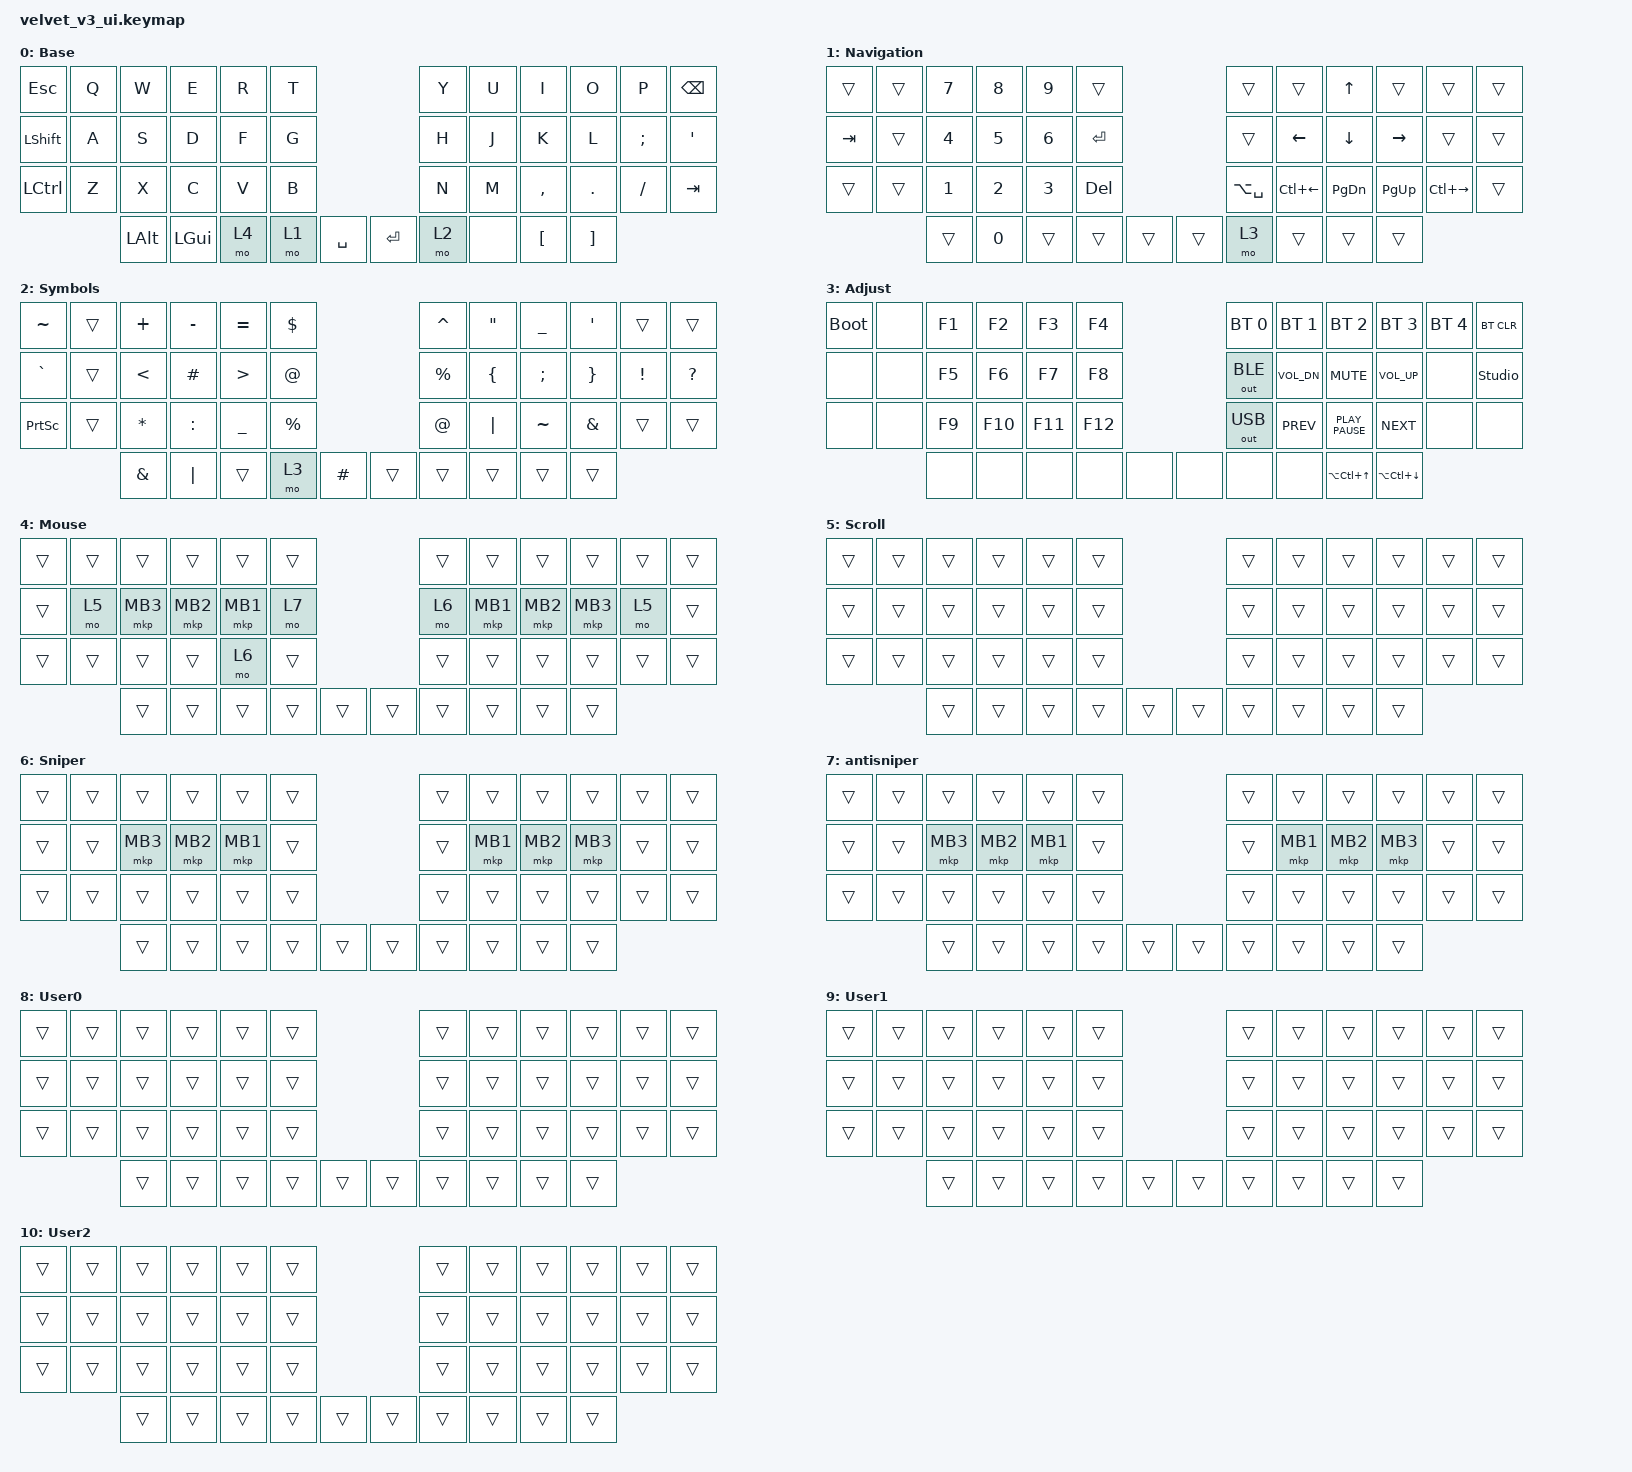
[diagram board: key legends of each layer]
#include "keys_ru.h"
#include <dt-bindings/zmk/input_transform.h>
#include <input/processors.dtsi>
#include <zephyr/dt-bindings/input/input-event-codes.h>
#include <behaviors.dtsi>
#include <dt-bindings/zmk/bt.h>
#include <dt-bindings/zmk/keys.h>
#include <dt-bindings/zmk/outputs.h>
#include <dt-bindings/zmk/pointing.h>

/ {
    behaviors {
        cap_sen: cap_sen {
            compatible = "zmk,behavior-hold-tap";
            label = "CAP_SEN";
            bindings = <&mo>, <&mkp>;

            #binding-cells = <2>;
            tapping-term-ms = <150>;
            hold-while-undecided;
        };
    };

    combos {
        compatible = "zmk,combos";

        cLPAR {
            bindings = <&kp LPAR>;
            key-positions = <4 5>;
        };

        cRPAR {
            bindings = <&kp RPAR>;
            key-positions = <6 7>;
        };

        cLBRCT {
            bindings = <&kp LEFT_BRACKET>;
            key-positions = <16 17>;
        };

        cRTBRCT {
            bindings = <&kp RIGHT_BRACKET>;
            key-positions = <18 19>;
        };

        cLBRC {
            bindings = <&kp LEFT_BRACE>;
            key-positions = <28 29>;
        };

        cRBRC {
            bindings = <&kp RIGHT_BRACE>;
            key-positions = <30 31>;
        };
    };

    keymap {
        compatible = "zmk,keymap";

        Base {
            bindings = <
&kp ESC         &kp Q  &kp W     &kp E     &kp R  &kp T                        &kp Y  &kp U  &kp I      &kp O     &kp P     &kp BSPC
&kp LEFT_SHIFT  &kp A  &kp S     &kp D     &kp F  &kp G                        &kp H  &kp J  &kp K      &kp L     &kp SEMI  &kp SQT
&kp LCTRL       &kp Z  &kp X     &kp C     &kp V  &kp B                        &kp N  &kp M  &kp COMMA  &kp DOT   &kp FSLH  &kp TAB
                       &kp LALT  &kp LGUI  &mo 4  &mo 1  &kp SPACE    &kp RET  &mo 2  &none  &kp LBKT   &kp RBKT
            >;

            display-name = "Base";
        };

        Navigation {
            bindings = <
&trans   &trans  &kp N7  &kp N8        &kp N9  &trans                     &trans         &trans        &kp UP_ARROW   &trans           &trans         &trans
&kp TAB  &trans  &kp N4  &kp N5        &kp N6  &kp RET                    &trans         &kp LEFT      &kp DOWN       &kp RIGHT_ARROW  &trans         &trans
&trans   &trans  &kp N1  &kp NUMBER_2  &kp N3  &kp DEL                    &kp LA(SPACE)  &kp LC(LEFT)  &kp PAGE_DOWN  &kp PAGE_UP      &kp LC(RIGHT)  &trans
                 &trans  &kp N0        &trans  &trans   &trans    &trans  &mo 3          &trans        &trans         &trans
            >;

            display-name = "Navigation";
        };

        Symbols {
            bindings = <
&kp TILDE        &trans  &kp PLUS  &kp MINUS  &kp EQUAL  &kp DOLLAR                      &kp CARET  &kp DQT   &kp UNDER  &kp SQT   &trans    &trans
&kp GRAVE        &trans  &kp LT    &kp HASH   &kp GT     &kp AT                          &kp PRCNT  &kp LBRC  &kp SEMI   &kp RBRC  &kp EXCL  &kp QUESTION
&kp PRINTSCREEN  &trans  &kp STAR  &kp COLON  &kp UNDER  &kp PRCNT                       &kp AT     &kp PIPE  &kp TILDE  &kp AMPS  &trans    &trans
                         &kp AMPS  &kp PIPE   &trans     &mo 3       &kp HASH    &trans  &trans     &trans    &trans     &trans
            >;

            display-name = "Symbols";
        };

        Adjust {
            bindings = <
&bootloader  &none  &kp F1  &kp F2   &kp F3   &kp F4                   &bt BT_SEL 0  &bt BT_SEL 1  &bt BT_SEL 2      &bt BT_SEL 3            &bt BT_SEL 4  &bt BT_CLR
&none        &none  &kp F5  &kp F6   &kp F7   &kp F8                   &out OUT_BLE  &kp C_VOL_DN  &kp K_MUTE        &kp C_VOL_UP            &none         &studio_unlock
&none        &none  &kp F9  &kp F10  &kp F11  &kp F12                  &out OUT_USB  &kp K_PREV    &kp K_PLAY_PAUSE  &kp K_NEXT              &none         &none
                    &none   &none    &none    &none    &none    &none  &none         &none         &kp LA(LC(UP))    &kp LA(LC(DOWN_ARROW))
            >;

            display-name = "Adjust";
        };

        Mouse {
            bindings = <
&trans  &trans  &trans    &trans    &trans    &trans                    &trans  &trans    &trans    &trans    &trans  &trans
&trans  &mo 5   &mkp MB3  &mkp MB2  &mkp MB1  &mo 7                     &mo 6   &mkp MB1  &mkp MB2  &mkp MB3  &mo 5   &trans
&trans  &trans  &trans    &trans    &mo 6     &trans                    &trans  &trans    &trans    &trans    &trans  &trans
                &trans    &trans    &trans    &trans  &trans    &trans  &trans  &trans    &trans    &trans
            >;
        };

        Scroll {
            bindings = <
&trans  &trans  &trans  &trans  &trans  &trans                    &trans  &trans  &trans  &trans  &trans  &trans
&trans  &trans  &trans  &trans  &trans  &trans                    &trans  &trans  &trans  &trans  &trans  &trans
&trans  &trans  &trans  &trans  &trans  &trans                    &trans  &trans  &trans  &trans  &trans  &trans
                &trans  &trans  &trans  &trans  &trans    &trans  &trans  &trans  &trans  &trans
            >;
        };

        Sniper {
            bindings = <
&trans  &trans  &trans    &trans    &trans    &trans                    &trans  &trans    &trans    &trans    &trans  &trans
&trans  &trans  &mkp MB3  &mkp MB2  &mkp MB1  &trans                    &trans  &mkp MB1  &mkp MB2  &mkp MB3  &trans  &trans
&trans  &trans  &trans    &trans    &trans    &trans                    &trans  &trans    &trans    &trans    &trans  &trans
                &trans    &trans    &trans    &trans  &trans    &trans  &trans  &trans    &trans    &trans
            >;
        };

        antisniper {
            bindings = <
&trans  &trans  &trans    &trans    &trans    &trans                    &trans  &trans    &trans    &trans    &trans  &trans
&trans  &trans  &mkp MB3  &mkp MB2  &mkp MB1  &trans                    &trans  &mkp MB1  &mkp MB2  &mkp MB3  &trans  &trans
&trans  &trans  &trans    &trans    &trans    &trans                    &trans  &trans    &trans    &trans    &trans  &trans
                &trans    &trans    &trans    &trans  &trans    &trans  &trans  &trans    &trans    &trans
            >;
        };

        User0 {
            bindings = <
&trans  &trans  &trans  &trans  &trans  &trans                    &trans  &trans  &trans  &trans  &trans  &trans
&trans  &trans  &trans  &trans  &trans  &trans                    &trans  &trans  &trans  &trans  &trans  &trans
&trans  &trans  &trans  &trans  &trans  &trans                    &trans  &trans  &trans  &trans  &trans  &trans
                &trans  &trans  &trans  &trans  &trans    &trans  &trans  &trans  &trans  &trans
            >;

            display-name = "User0";
        };

        User1 {
            bindings = <
&trans  &trans  &trans  &trans  &trans  &trans                    &trans  &trans  &trans  &trans  &trans  &trans
&trans  &trans  &trans  &trans  &trans  &trans                    &trans  &trans  &trans  &trans  &trans  &trans
&trans  &trans  &trans  &trans  &trans  &trans                    &trans  &trans  &trans  &trans  &trans  &trans
                &trans  &trans  &trans  &trans  &trans    &trans  &trans  &trans  &trans  &trans
            >;

            display-name = "User1";
        };

        User2 {
            bindings = <
&trans  &trans  &trans  &trans  &trans  &trans                    &trans  &trans  &trans  &trans  &trans  &trans
&trans  &trans  &trans  &trans  &trans  &trans                    &trans  &trans  &trans  &trans  &trans  &trans
&trans  &trans  &trans  &trans  &trans  &trans                    &trans  &trans  &trans  &trans  &trans  &trans
                &trans  &trans  &trans  &trans  &trans    &trans  &trans  &trans  &trans  &trans
            >;

            display-name = "User2";
        };
    };
};

&trackball { cpi = <1000>; };

&trackball_listener {
    input-processors = <&zip_xy_scaler 1 4>;

    scroller {
        layers = <5>;
        input-processors =
            <&zip_xy_transform INPUT_TRANSFORM_Y_INVERT>,
            <&zip_xy_scaler 1 32>,
            <&zip_xy_to_scroll_mapper>;
    };

    sniper {
        layers = <6>;
        input-processors = <&zip_xy_scaler 1 8>;
    };

    antisniper {
        layers = <7>;
        input-processors = <&zip_xy_scaler 4 5>;
    };
};
